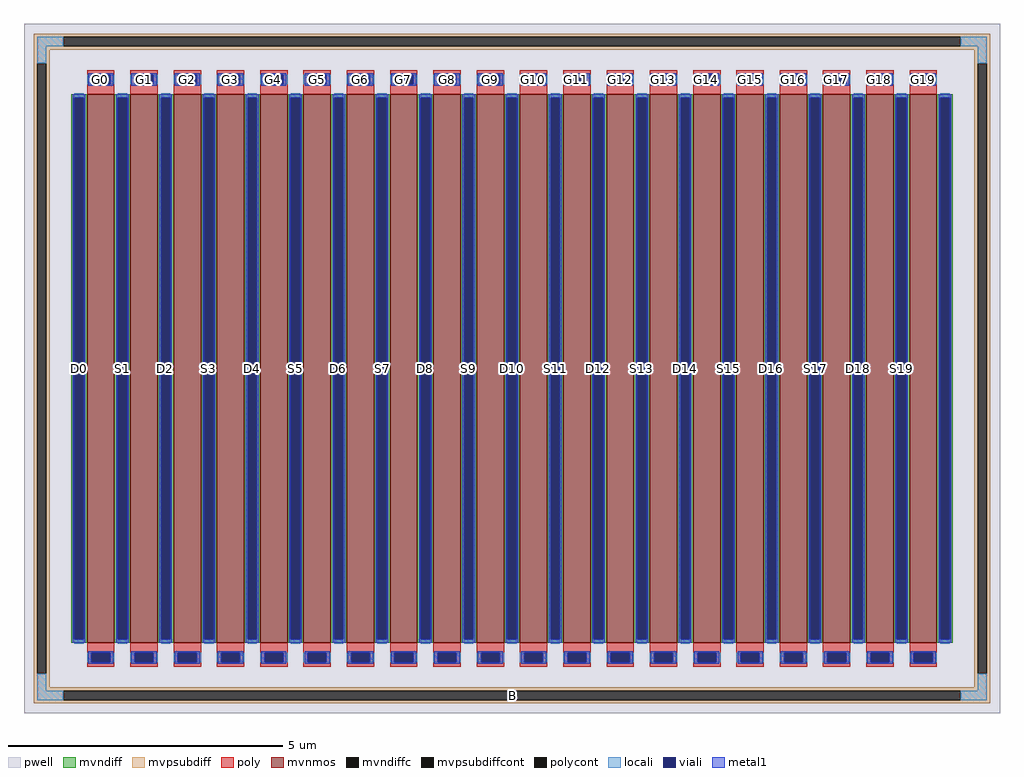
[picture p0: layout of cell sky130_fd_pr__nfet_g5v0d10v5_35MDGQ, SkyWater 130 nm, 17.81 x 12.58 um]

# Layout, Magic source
magic
tech sky130A
magscale 1 2
<< pwell >>
rect -1781 -1258 1781 1258
<< mvnmos >>
rect -1551 -1000 -1451 1000
rect -1393 -1000 -1293 1000
rect -1235 -1000 -1135 1000
rect -1077 -1000 -977 1000
rect -919 -1000 -819 1000
rect -761 -1000 -661 1000
rect -603 -1000 -503 1000
rect -445 -1000 -345 1000
rect -287 -1000 -187 1000
rect -129 -1000 -29 1000
rect 29 -1000 129 1000
rect 187 -1000 287 1000
rect 345 -1000 445 1000
rect 503 -1000 603 1000
rect 661 -1000 761 1000
rect 819 -1000 919 1000
rect 977 -1000 1077 1000
rect 1135 -1000 1235 1000
rect 1293 -1000 1393 1000
rect 1451 -1000 1551 1000
<< mvndiff >>
rect -1609 988 -1551 1000
rect -1609 -988 -1597 988
rect -1563 -988 -1551 988
rect -1609 -1000 -1551 -988
rect -1451 988 -1393 1000
rect -1451 -988 -1439 988
rect -1405 -988 -1393 988
rect -1451 -1000 -1393 -988
rect -1293 988 -1235 1000
rect -1293 -988 -1281 988
rect -1247 -988 -1235 988
rect -1293 -1000 -1235 -988
rect -1135 988 -1077 1000
rect -1135 -988 -1123 988
rect -1089 -988 -1077 988
rect -1135 -1000 -1077 -988
rect -977 988 -919 1000
rect -977 -988 -965 988
rect -931 -988 -919 988
rect -977 -1000 -919 -988
rect -819 988 -761 1000
rect -819 -988 -807 988
rect -773 -988 -761 988
rect -819 -1000 -761 -988
rect -661 988 -603 1000
rect -661 -988 -649 988
rect -615 -988 -603 988
rect -661 -1000 -603 -988
rect -503 988 -445 1000
rect -503 -988 -491 988
rect -457 -988 -445 988
rect -503 -1000 -445 -988
rect -345 988 -287 1000
rect -345 -988 -333 988
rect -299 -988 -287 988
rect -345 -1000 -287 -988
rect -187 988 -129 1000
rect -187 -988 -175 988
rect -141 -988 -129 988
rect -187 -1000 -129 -988
rect -29 988 29 1000
rect -29 -988 -17 988
rect 17 -988 29 988
rect -29 -1000 29 -988
rect 129 988 187 1000
rect 129 -988 141 988
rect 175 -988 187 988
rect 129 -1000 187 -988
rect 287 988 345 1000
rect 287 -988 299 988
rect 333 -988 345 988
rect 287 -1000 345 -988
rect 445 988 503 1000
rect 445 -988 457 988
rect 491 -988 503 988
rect 445 -1000 503 -988
rect 603 988 661 1000
rect 603 -988 615 988
rect 649 -988 661 988
rect 603 -1000 661 -988
rect 761 988 819 1000
rect 761 -988 773 988
rect 807 -988 819 988
rect 761 -1000 819 -988
rect 919 988 977 1000
rect 919 -988 931 988
rect 965 -988 977 988
rect 919 -1000 977 -988
rect 1077 988 1135 1000
rect 1077 -988 1089 988
rect 1123 -988 1135 988
rect 1077 -1000 1135 -988
rect 1235 988 1293 1000
rect 1235 -988 1247 988
rect 1281 -988 1293 988
rect 1235 -1000 1293 -988
rect 1393 988 1451 1000
rect 1393 -988 1405 988
rect 1439 -988 1451 988
rect 1393 -1000 1451 -988
rect 1551 988 1609 1000
rect 1551 -988 1563 988
rect 1597 -988 1609 988
rect 1551 -1000 1609 -988
<< mvndiffc >>
rect -1597 -988 -1563 988
rect -1439 -988 -1405 988
rect -1281 -988 -1247 988
rect -1123 -988 -1089 988
rect -965 -988 -931 988
rect -807 -988 -773 988
rect -649 -988 -615 988
rect -491 -988 -457 988
rect -333 -988 -299 988
rect -175 -988 -141 988
rect -17 -988 17 988
rect 141 -988 175 988
rect 299 -988 333 988
rect 457 -988 491 988
rect 615 -988 649 988
rect 773 -988 807 988
rect 931 -988 965 988
rect 1089 -988 1123 988
rect 1247 -988 1281 988
rect 1405 -988 1439 988
rect 1563 -988 1597 988
<< mvpsubdiff >>
rect -1745 1210 1745 1222
rect -1745 1176 -1637 1210
rect 1637 1176 1745 1210
rect -1745 1164 1745 1176
rect -1745 1114 -1687 1164
rect -1745 -1114 -1733 1114
rect -1699 -1114 -1687 1114
rect 1687 1114 1745 1164
rect -1745 -1164 -1687 -1114
rect 1687 -1114 1699 1114
rect 1733 -1114 1745 1114
rect 1687 -1164 1745 -1114
rect -1745 -1176 1745 -1164
rect -1745 -1210 -1637 -1176
rect 1637 -1210 1745 -1176
rect -1745 -1222 1745 -1210
<< mvpsubdiffcont >>
rect -1637 1176 1637 1210
rect -1733 -1114 -1699 1114
rect 1699 -1114 1733 1114
rect -1637 -1210 1637 -1176
<< poly >>
rect -1551 1072 -1451 1088
rect -1551 1038 -1535 1072
rect -1467 1038 -1451 1072
rect -1551 1000 -1451 1038
rect -1393 1072 -1293 1088
rect -1393 1038 -1377 1072
rect -1309 1038 -1293 1072
rect -1393 1000 -1293 1038
rect -1235 1072 -1135 1088
rect -1235 1038 -1219 1072
rect -1151 1038 -1135 1072
rect -1235 1000 -1135 1038
rect -1077 1072 -977 1088
rect -1077 1038 -1061 1072
rect -993 1038 -977 1072
rect -1077 1000 -977 1038
rect -919 1072 -819 1088
rect -919 1038 -903 1072
rect -835 1038 -819 1072
rect -919 1000 -819 1038
rect -761 1072 -661 1088
rect -761 1038 -745 1072
rect -677 1038 -661 1072
rect -761 1000 -661 1038
rect -603 1072 -503 1088
rect -603 1038 -587 1072
rect -519 1038 -503 1072
rect -603 1000 -503 1038
rect -445 1072 -345 1088
rect -445 1038 -429 1072
rect -361 1038 -345 1072
rect -445 1000 -345 1038
rect -287 1072 -187 1088
rect -287 1038 -271 1072
rect -203 1038 -187 1072
rect -287 1000 -187 1038
rect -129 1072 -29 1088
rect -129 1038 -113 1072
rect -45 1038 -29 1072
rect -129 1000 -29 1038
rect 29 1072 129 1088
rect 29 1038 45 1072
rect 113 1038 129 1072
rect 29 1000 129 1038
rect 187 1072 287 1088
rect 187 1038 203 1072
rect 271 1038 287 1072
rect 187 1000 287 1038
rect 345 1072 445 1088
rect 345 1038 361 1072
rect 429 1038 445 1072
rect 345 1000 445 1038
rect 503 1072 603 1088
rect 503 1038 519 1072
rect 587 1038 603 1072
rect 503 1000 603 1038
rect 661 1072 761 1088
rect 661 1038 677 1072
rect 745 1038 761 1072
rect 661 1000 761 1038
rect 819 1072 919 1088
rect 819 1038 835 1072
rect 903 1038 919 1072
rect 819 1000 919 1038
rect 977 1072 1077 1088
rect 977 1038 993 1072
rect 1061 1038 1077 1072
rect 977 1000 1077 1038
rect 1135 1072 1235 1088
rect 1135 1038 1151 1072
rect 1219 1038 1235 1072
rect 1135 1000 1235 1038
rect 1293 1072 1393 1088
rect 1293 1038 1309 1072
rect 1377 1038 1393 1072
rect 1293 1000 1393 1038
rect 1451 1072 1551 1088
rect 1451 1038 1467 1072
rect 1535 1038 1551 1072
rect 1451 1000 1551 1038
rect -1551 -1038 -1451 -1000
rect -1551 -1072 -1535 -1038
rect -1467 -1072 -1451 -1038
rect -1551 -1088 -1451 -1072
rect -1393 -1038 -1293 -1000
rect -1393 -1072 -1377 -1038
rect -1309 -1072 -1293 -1038
rect -1393 -1088 -1293 -1072
rect -1235 -1038 -1135 -1000
rect -1235 -1072 -1219 -1038
rect -1151 -1072 -1135 -1038
rect -1235 -1088 -1135 -1072
rect -1077 -1038 -977 -1000
rect -1077 -1072 -1061 -1038
rect -993 -1072 -977 -1038
rect -1077 -1088 -977 -1072
rect -919 -1038 -819 -1000
rect -919 -1072 -903 -1038
rect -835 -1072 -819 -1038
rect -919 -1088 -819 -1072
rect -761 -1038 -661 -1000
rect -761 -1072 -745 -1038
rect -677 -1072 -661 -1038
rect -761 -1088 -661 -1072
rect -603 -1038 -503 -1000
rect -603 -1072 -587 -1038
rect -519 -1072 -503 -1038
rect -603 -1088 -503 -1072
rect -445 -1038 -345 -1000
rect -445 -1072 -429 -1038
rect -361 -1072 -345 -1038
rect -445 -1088 -345 -1072
rect -287 -1038 -187 -1000
rect -287 -1072 -271 -1038
rect -203 -1072 -187 -1038
rect -287 -1088 -187 -1072
rect -129 -1038 -29 -1000
rect -129 -1072 -113 -1038
rect -45 -1072 -29 -1038
rect -129 -1088 -29 -1072
rect 29 -1038 129 -1000
rect 29 -1072 45 -1038
rect 113 -1072 129 -1038
rect 29 -1088 129 -1072
rect 187 -1038 287 -1000
rect 187 -1072 203 -1038
rect 271 -1072 287 -1038
rect 187 -1088 287 -1072
rect 345 -1038 445 -1000
rect 345 -1072 361 -1038
rect 429 -1072 445 -1038
rect 345 -1088 445 -1072
rect 503 -1038 603 -1000
rect 503 -1072 519 -1038
rect 587 -1072 603 -1038
rect 503 -1088 603 -1072
rect 661 -1038 761 -1000
rect 661 -1072 677 -1038
rect 745 -1072 761 -1038
rect 661 -1088 761 -1072
rect 819 -1038 919 -1000
rect 819 -1072 835 -1038
rect 903 -1072 919 -1038
rect 819 -1088 919 -1072
rect 977 -1038 1077 -1000
rect 977 -1072 993 -1038
rect 1061 -1072 1077 -1038
rect 977 -1088 1077 -1072
rect 1135 -1038 1235 -1000
rect 1135 -1072 1151 -1038
rect 1219 -1072 1235 -1038
rect 1135 -1088 1235 -1072
rect 1293 -1038 1393 -1000
rect 1293 -1072 1309 -1038
rect 1377 -1072 1393 -1038
rect 1293 -1088 1393 -1072
rect 1451 -1038 1551 -1000
rect 1451 -1072 1467 -1038
rect 1535 -1072 1551 -1038
rect 1451 -1088 1551 -1072
<< polycont >>
rect -1535 1038 -1467 1072
rect -1377 1038 -1309 1072
rect -1219 1038 -1151 1072
rect -1061 1038 -993 1072
rect -903 1038 -835 1072
rect -745 1038 -677 1072
rect -587 1038 -519 1072
rect -429 1038 -361 1072
rect -271 1038 -203 1072
rect -113 1038 -45 1072
rect 45 1038 113 1072
rect 203 1038 271 1072
rect 361 1038 429 1072
rect 519 1038 587 1072
rect 677 1038 745 1072
rect 835 1038 903 1072
rect 993 1038 1061 1072
rect 1151 1038 1219 1072
rect 1309 1038 1377 1072
rect 1467 1038 1535 1072
rect -1535 -1072 -1467 -1038
rect -1377 -1072 -1309 -1038
rect -1219 -1072 -1151 -1038
rect -1061 -1072 -993 -1038
rect -903 -1072 -835 -1038
rect -745 -1072 -677 -1038
rect -587 -1072 -519 -1038
rect -429 -1072 -361 -1038
rect -271 -1072 -203 -1038
rect -113 -1072 -45 -1038
rect 45 -1072 113 -1038
rect 203 -1072 271 -1038
rect 361 -1072 429 -1038
rect 519 -1072 587 -1038
rect 677 -1072 745 -1038
rect 835 -1072 903 -1038
rect 993 -1072 1061 -1038
rect 1151 -1072 1219 -1038
rect 1309 -1072 1377 -1038
rect 1467 -1072 1535 -1038
<< locali >>
rect -1733 1176 -1637 1210
rect 1637 1176 1733 1210
rect -1733 1114 -1699 1176
rect 1699 1114 1733 1176
rect -1551 1038 -1535 1072
rect -1467 1038 -1451 1072
rect -1393 1038 -1377 1072
rect -1309 1038 -1293 1072
rect -1235 1038 -1219 1072
rect -1151 1038 -1135 1072
rect -1077 1038 -1061 1072
rect -993 1038 -977 1072
rect -919 1038 -903 1072
rect -835 1038 -819 1072
rect -761 1038 -745 1072
rect -677 1038 -661 1072
rect -603 1038 -587 1072
rect -519 1038 -503 1072
rect -445 1038 -429 1072
rect -361 1038 -345 1072
rect -287 1038 -271 1072
rect -203 1038 -187 1072
rect -129 1038 -113 1072
rect -45 1038 -29 1072
rect 29 1038 45 1072
rect 113 1038 129 1072
rect 187 1038 203 1072
rect 271 1038 287 1072
rect 345 1038 361 1072
rect 429 1038 445 1072
rect 503 1038 519 1072
rect 587 1038 603 1072
rect 661 1038 677 1072
rect 745 1038 761 1072
rect 819 1038 835 1072
rect 903 1038 919 1072
rect 977 1038 993 1072
rect 1061 1038 1077 1072
rect 1135 1038 1151 1072
rect 1219 1038 1235 1072
rect 1293 1038 1309 1072
rect 1377 1038 1393 1072
rect 1451 1038 1467 1072
rect 1535 1038 1551 1072
rect -1597 988 -1563 1004
rect -1597 -1004 -1563 -988
rect -1439 988 -1405 1004
rect -1439 -1004 -1405 -988
rect -1281 988 -1247 1004
rect -1281 -1004 -1247 -988
rect -1123 988 -1089 1004
rect -1123 -1004 -1089 -988
rect -965 988 -931 1004
rect -965 -1004 -931 -988
rect -807 988 -773 1004
rect -807 -1004 -773 -988
rect -649 988 -615 1004
rect -649 -1004 -615 -988
rect -491 988 -457 1004
rect -491 -1004 -457 -988
rect -333 988 -299 1004
rect -333 -1004 -299 -988
rect -175 988 -141 1004
rect -175 -1004 -141 -988
rect -17 988 17 1004
rect -17 -1004 17 -988
rect 141 988 175 1004
rect 141 -1004 175 -988
rect 299 988 333 1004
rect 299 -1004 333 -988
rect 457 988 491 1004
rect 457 -1004 491 -988
rect 615 988 649 1004
rect 615 -1004 649 -988
rect 773 988 807 1004
rect 773 -1004 807 -988
rect 931 988 965 1004
rect 931 -1004 965 -988
rect 1089 988 1123 1004
rect 1089 -1004 1123 -988
rect 1247 988 1281 1004
rect 1247 -1004 1281 -988
rect 1405 988 1439 1004
rect 1405 -1004 1439 -988
rect 1563 988 1597 1004
rect 1563 -1004 1597 -988
rect -1551 -1072 -1535 -1038
rect -1467 -1072 -1451 -1038
rect -1393 -1072 -1377 -1038
rect -1309 -1072 -1293 -1038
rect -1235 -1072 -1219 -1038
rect -1151 -1072 -1135 -1038
rect -1077 -1072 -1061 -1038
rect -993 -1072 -977 -1038
rect -919 -1072 -903 -1038
rect -835 -1072 -819 -1038
rect -761 -1072 -745 -1038
rect -677 -1072 -661 -1038
rect -603 -1072 -587 -1038
rect -519 -1072 -503 -1038
rect -445 -1072 -429 -1038
rect -361 -1072 -345 -1038
rect -287 -1072 -271 -1038
rect -203 -1072 -187 -1038
rect -129 -1072 -113 -1038
rect -45 -1072 -29 -1038
rect 29 -1072 45 -1038
rect 113 -1072 129 -1038
rect 187 -1072 203 -1038
rect 271 -1072 287 -1038
rect 345 -1072 361 -1038
rect 429 -1072 445 -1038
rect 503 -1072 519 -1038
rect 587 -1072 603 -1038
rect 661 -1072 677 -1038
rect 745 -1072 761 -1038
rect 819 -1072 835 -1038
rect 903 -1072 919 -1038
rect 977 -1072 993 -1038
rect 1061 -1072 1077 -1038
rect 1135 -1072 1151 -1038
rect 1219 -1072 1235 -1038
rect 1293 -1072 1309 -1038
rect 1377 -1072 1393 -1038
rect 1451 -1072 1467 -1038
rect 1535 -1072 1551 -1038
rect -1733 -1176 -1699 -1114
rect 1699 -1176 1733 -1114
rect -1733 -1210 -1637 -1176
rect 1637 -1210 1733 -1176
<< viali >>
rect -1535 1038 -1467 1072
rect -1377 1038 -1309 1072
rect -1219 1038 -1151 1072
rect -1061 1038 -993 1072
rect -903 1038 -835 1072
rect -745 1038 -677 1072
rect -587 1038 -519 1072
rect -429 1038 -361 1072
rect -271 1038 -203 1072
rect -113 1038 -45 1072
rect 45 1038 113 1072
rect 203 1038 271 1072
rect 361 1038 429 1072
rect 519 1038 587 1072
rect 677 1038 745 1072
rect 835 1038 903 1072
rect 993 1038 1061 1072
rect 1151 1038 1219 1072
rect 1309 1038 1377 1072
rect 1467 1038 1535 1072
rect -1597 -988 -1563 988
rect -1439 -988 -1405 988
rect -1281 -988 -1247 988
rect -1123 -988 -1089 988
rect -965 -988 -931 988
rect -807 -988 -773 988
rect -649 -988 -615 988
rect -491 -988 -457 988
rect -333 -988 -299 988
rect -175 -988 -141 988
rect -17 -988 17 988
rect 141 -988 175 988
rect 299 -988 333 988
rect 457 -988 491 988
rect 615 -988 649 988
rect 773 -988 807 988
rect 931 -988 965 988
rect 1089 -988 1123 988
rect 1247 -988 1281 988
rect 1405 -988 1439 988
rect 1563 -988 1597 988
rect -1535 -1072 -1467 -1038
rect -1377 -1072 -1309 -1038
rect -1219 -1072 -1151 -1038
rect -1061 -1072 -993 -1038
rect -903 -1072 -835 -1038
rect -745 -1072 -677 -1038
rect -587 -1072 -519 -1038
rect -429 -1072 -361 -1038
rect -271 -1072 -203 -1038
rect -113 -1072 -45 -1038
rect 45 -1072 113 -1038
rect 203 -1072 271 -1038
rect 361 -1072 429 -1038
rect 519 -1072 587 -1038
rect 677 -1072 745 -1038
rect 835 -1072 903 -1038
rect 993 -1072 1061 -1038
rect 1151 -1072 1219 -1038
rect 1309 -1072 1377 -1038
rect 1467 -1072 1535 -1038
<< metal1 >>
rect -1547 1072 -1455 1078
rect -1547 1038 -1535 1072
rect -1467 1038 -1455 1072
rect -1547 1032 -1455 1038
rect -1389 1072 -1297 1078
rect -1389 1038 -1377 1072
rect -1309 1038 -1297 1072
rect -1389 1032 -1297 1038
rect -1231 1072 -1139 1078
rect -1231 1038 -1219 1072
rect -1151 1038 -1139 1072
rect -1231 1032 -1139 1038
rect -1073 1072 -981 1078
rect -1073 1038 -1061 1072
rect -993 1038 -981 1072
rect -1073 1032 -981 1038
rect -915 1072 -823 1078
rect -915 1038 -903 1072
rect -835 1038 -823 1072
rect -915 1032 -823 1038
rect -757 1072 -665 1078
rect -757 1038 -745 1072
rect -677 1038 -665 1072
rect -757 1032 -665 1038
rect -599 1072 -507 1078
rect -599 1038 -587 1072
rect -519 1038 -507 1072
rect -599 1032 -507 1038
rect -441 1072 -349 1078
rect -441 1038 -429 1072
rect -361 1038 -349 1072
rect -441 1032 -349 1038
rect -283 1072 -191 1078
rect -283 1038 -271 1072
rect -203 1038 -191 1072
rect -283 1032 -191 1038
rect -125 1072 -33 1078
rect -125 1038 -113 1072
rect -45 1038 -33 1072
rect -125 1032 -33 1038
rect 33 1072 125 1078
rect 33 1038 45 1072
rect 113 1038 125 1072
rect 33 1032 125 1038
rect 191 1072 283 1078
rect 191 1038 203 1072
rect 271 1038 283 1072
rect 191 1032 283 1038
rect 349 1072 441 1078
rect 349 1038 361 1072
rect 429 1038 441 1072
rect 349 1032 441 1038
rect 507 1072 599 1078
rect 507 1038 519 1072
rect 587 1038 599 1072
rect 507 1032 599 1038
rect 665 1072 757 1078
rect 665 1038 677 1072
rect 745 1038 757 1072
rect 665 1032 757 1038
rect 823 1072 915 1078
rect 823 1038 835 1072
rect 903 1038 915 1072
rect 823 1032 915 1038
rect 981 1072 1073 1078
rect 981 1038 993 1072
rect 1061 1038 1073 1072
rect 981 1032 1073 1038
rect 1139 1072 1231 1078
rect 1139 1038 1151 1072
rect 1219 1038 1231 1072
rect 1139 1032 1231 1038
rect 1297 1072 1389 1078
rect 1297 1038 1309 1072
rect 1377 1038 1389 1072
rect 1297 1032 1389 1038
rect 1455 1072 1547 1078
rect 1455 1038 1467 1072
rect 1535 1038 1547 1072
rect 1455 1032 1547 1038
rect -1603 988 -1557 1000
rect -1603 -988 -1597 988
rect -1563 -988 -1557 988
rect -1603 -1000 -1557 -988
rect -1445 988 -1399 1000
rect -1445 -988 -1439 988
rect -1405 -988 -1399 988
rect -1445 -1000 -1399 -988
rect -1287 988 -1241 1000
rect -1287 -988 -1281 988
rect -1247 -988 -1241 988
rect -1287 -1000 -1241 -988
rect -1129 988 -1083 1000
rect -1129 -988 -1123 988
rect -1089 -988 -1083 988
rect -1129 -1000 -1083 -988
rect -971 988 -925 1000
rect -971 -988 -965 988
rect -931 -988 -925 988
rect -971 -1000 -925 -988
rect -813 988 -767 1000
rect -813 -988 -807 988
rect -773 -988 -767 988
rect -813 -1000 -767 -988
rect -655 988 -609 1000
rect -655 -988 -649 988
rect -615 -988 -609 988
rect -655 -1000 -609 -988
rect -497 988 -451 1000
rect -497 -988 -491 988
rect -457 -988 -451 988
rect -497 -1000 -451 -988
rect -339 988 -293 1000
rect -339 -988 -333 988
rect -299 -988 -293 988
rect -339 -1000 -293 -988
rect -181 988 -135 1000
rect -181 -988 -175 988
rect -141 -988 -135 988
rect -181 -1000 -135 -988
rect -23 988 23 1000
rect -23 -988 -17 988
rect 17 -988 23 988
rect -23 -1000 23 -988
rect 135 988 181 1000
rect 135 -988 141 988
rect 175 -988 181 988
rect 135 -1000 181 -988
rect 293 988 339 1000
rect 293 -988 299 988
rect 333 -988 339 988
rect 293 -1000 339 -988
rect 451 988 497 1000
rect 451 -988 457 988
rect 491 -988 497 988
rect 451 -1000 497 -988
rect 609 988 655 1000
rect 609 -988 615 988
rect 649 -988 655 988
rect 609 -1000 655 -988
rect 767 988 813 1000
rect 767 -988 773 988
rect 807 -988 813 988
rect 767 -1000 813 -988
rect 925 988 971 1000
rect 925 -988 931 988
rect 965 -988 971 988
rect 925 -1000 971 -988
rect 1083 988 1129 1000
rect 1083 -988 1089 988
rect 1123 -988 1129 988
rect 1083 -1000 1129 -988
rect 1241 988 1287 1000
rect 1241 -988 1247 988
rect 1281 -988 1287 988
rect 1241 -1000 1287 -988
rect 1399 988 1445 1000
rect 1399 -988 1405 988
rect 1439 -988 1445 988
rect 1399 -1000 1445 -988
rect 1557 988 1603 1000
rect 1557 -988 1563 988
rect 1597 -988 1603 988
rect 1557 -1000 1603 -988
rect -1547 -1038 -1455 -1032
rect -1547 -1072 -1535 -1038
rect -1467 -1072 -1455 -1038
rect -1547 -1078 -1455 -1072
rect -1389 -1038 -1297 -1032
rect -1389 -1072 -1377 -1038
rect -1309 -1072 -1297 -1038
rect -1389 -1078 -1297 -1072
rect -1231 -1038 -1139 -1032
rect -1231 -1072 -1219 -1038
rect -1151 -1072 -1139 -1038
rect -1231 -1078 -1139 -1072
rect -1073 -1038 -981 -1032
rect -1073 -1072 -1061 -1038
rect -993 -1072 -981 -1038
rect -1073 -1078 -981 -1072
rect -915 -1038 -823 -1032
rect -915 -1072 -903 -1038
rect -835 -1072 -823 -1038
rect -915 -1078 -823 -1072
rect -757 -1038 -665 -1032
rect -757 -1072 -745 -1038
rect -677 -1072 -665 -1038
rect -757 -1078 -665 -1072
rect -599 -1038 -507 -1032
rect -599 -1072 -587 -1038
rect -519 -1072 -507 -1038
rect -599 -1078 -507 -1072
rect -441 -1038 -349 -1032
rect -441 -1072 -429 -1038
rect -361 -1072 -349 -1038
rect -441 -1078 -349 -1072
rect -283 -1038 -191 -1032
rect -283 -1072 -271 -1038
rect -203 -1072 -191 -1038
rect -283 -1078 -191 -1072
rect -125 -1038 -33 -1032
rect -125 -1072 -113 -1038
rect -45 -1072 -33 -1038
rect -125 -1078 -33 -1072
rect 33 -1038 125 -1032
rect 33 -1072 45 -1038
rect 113 -1072 125 -1038
rect 33 -1078 125 -1072
rect 191 -1038 283 -1032
rect 191 -1072 203 -1038
rect 271 -1072 283 -1038
rect 191 -1078 283 -1072
rect 349 -1038 441 -1032
rect 349 -1072 361 -1038
rect 429 -1072 441 -1038
rect 349 -1078 441 -1072
rect 507 -1038 599 -1032
rect 507 -1072 519 -1038
rect 587 -1072 599 -1038
rect 507 -1078 599 -1072
rect 665 -1038 757 -1032
rect 665 -1072 677 -1038
rect 745 -1072 757 -1038
rect 665 -1078 757 -1072
rect 823 -1038 915 -1032
rect 823 -1072 835 -1038
rect 903 -1072 915 -1038
rect 823 -1078 915 -1072
rect 981 -1038 1073 -1032
rect 981 -1072 993 -1038
rect 1061 -1072 1073 -1038
rect 981 -1078 1073 -1072
rect 1139 -1038 1231 -1032
rect 1139 -1072 1151 -1038
rect 1219 -1072 1231 -1038
rect 1139 -1078 1231 -1072
rect 1297 -1038 1389 -1032
rect 1297 -1072 1309 -1038
rect 1377 -1072 1389 -1038
rect 1297 -1078 1389 -1072
rect 1455 -1038 1547 -1032
rect 1455 -1072 1467 -1038
rect 1535 -1072 1547 -1038
rect 1455 -1078 1547 -1072
<< labels >>
rlabel mvpsubdiffcont 0 -1193 0 -1193 0 B
port 1 nsew
rlabel mvndiffc -1580 0 -1580 0 0 D0
port 2 nsew
rlabel polycont -1501 1055 -1501 1055 0 G0
port 3 nsew
rlabel mvndiffc -1422 0 -1422 0 0 S1
port 4 nsew
rlabel polycont -1343 1055 -1343 1055 0 G1
port 5 nsew
rlabel mvndiffc -1264 0 -1264 0 0 D2
port 6 nsew
rlabel polycont -1185 1055 -1185 1055 0 G2
port 7 nsew
rlabel mvndiffc -1106 0 -1106 0 0 S3
port 8 nsew
rlabel polycont -1027 1055 -1027 1055 0 G3
port 9 nsew
rlabel mvndiffc -948 0 -948 0 0 D4
port 10 nsew
rlabel polycont -869 1055 -869 1055 0 G4
port 11 nsew
rlabel mvndiffc -790 0 -790 0 0 S5
port 12 nsew
rlabel polycont -711 1055 -711 1055 0 G5
port 13 nsew
rlabel mvndiffc -632 0 -632 0 0 D6
port 14 nsew
rlabel polycont -553 1055 -553 1055 0 G6
port 15 nsew
rlabel mvndiffc -474 0 -474 0 0 S7
port 16 nsew
rlabel polycont -395 1055 -395 1055 0 G7
port 17 nsew
rlabel mvndiffc -316 0 -316 0 0 D8
port 18 nsew
rlabel polycont -237 1055 -237 1055 0 G8
port 19 nsew
rlabel mvndiffc -158 0 -158 0 0 S9
port 20 nsew
rlabel polycont -79 1055 -79 1055 0 G9
port 21 nsew
rlabel mvndiffc 0 0 0 0 0 D10
port 22 nsew
rlabel polycont 79 1055 79 1055 0 G10
port 23 nsew
rlabel mvndiffc 158 0 158 0 0 S11
port 24 nsew
rlabel polycont 237 1055 237 1055 0 G11
port 25 nsew
rlabel mvndiffc 316 0 316 0 0 D12
port 26 nsew
rlabel polycont 395 1055 395 1055 0 G12
port 27 nsew
rlabel mvndiffc 474 0 474 0 0 S13
port 28 nsew
rlabel polycont 553 1055 553 1055 0 G13
port 29 nsew
rlabel mvndiffc 632 0 632 0 0 D14
port 30 nsew
rlabel polycont 711 1055 711 1055 0 G14
port 31 nsew
rlabel mvndiffc 790 0 790 0 0 S15
port 32 nsew
rlabel polycont 869 1055 869 1055 0 G15
port 33 nsew
rlabel mvndiffc 948 0 948 0 0 D16
port 34 nsew
rlabel polycont 1027 1055 1027 1055 0 G16
port 35 nsew
rlabel mvndiffc 1106 0 1106 0 0 S17
port 36 nsew
rlabel polycont 1185 1055 1185 1055 0 G17
port 37 nsew
rlabel mvndiffc 1264 0 1264 0 0 D18
port 38 nsew
rlabel polycont 1343 1055 1343 1055 0 G18
port 39 nsew
rlabel mvndiffc 1422 0 1422 0 0 S19
port 40 nsew
rlabel polycont 1501 1055 1501 1055 0 G19
port 41 nsew
<< properties >>
string FIXED_BBOX -1716 -1193 1716 1193
string gencell sky130_fd_pr__nfet_g5v0d10v5
string library sky130
string parameters w 10 l 0.50 m 1 nf 20 diffcov 100 polycov 100 guard 1 glc 1 grc 1 gtc 1 gbc 1 tbcov 100 rlcov 100 topc 1 botc 1 poverlap 0 doverlap 1 lmin 0.50 wmin 0.42 class mosfet compatible {sky130_fd_pr__nfet_01v8 sky130_fd_pr__nfet_01v8_lvt  sky130_fd_bs_flash__special_sonosfet_star  sky130_fd_pr__nfet_g5v0d10v5 sky130_fd_pr__nfet_05v0_nvt  sky130_fd_pr__nfet_03v3_nvt} full_metal 1 conn_gates 0 viasrc 100 viadrn 100 viagate 100 viagb 0 viagr 0 viagl 0 viagt 0 doports 1
<< end >>
